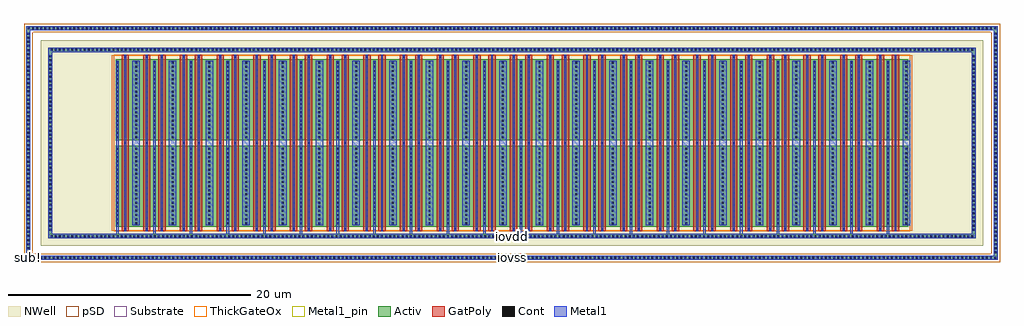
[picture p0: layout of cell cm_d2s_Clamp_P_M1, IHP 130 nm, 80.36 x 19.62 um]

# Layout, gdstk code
import gdstk
lib = gdstk.Library(unit=1e-6, precision=1e-09)
def R(c, l, rs):  # rectangles x0, y0, x1, y1
    for r in rs: c.add(gdstk.rectangle(r[:2], r[2:], *l))
def A(c, l, x, y, w, h, nx, ny, dx, dy):  # array of equal rectangles
    R(c, l, [(x+i*dx, y+j*dy, x+i*dx+w, y+j*dy+h) for i in range(nx) for j in range(ny)])
def P(c, l, *ps):  # polygons
    for p in ps: c.add(gdstk.Polygon(p, *l))
Activ = (1, 0)
GatPoly = (5, 0)
Cont = (6, 0)
Metal1 = (8, 0)
Metal1_pin = (8, 2)
pSD = (14, 0)
NWell = (31, 0)
Substrate = (40, 0)
ThickGateOx = (44, 0)

cm_d2s_clamp_p_m1 = lib.new_cell('cm_d2s_Clamp_P_M1')
R(cm_d2s_clamp_p_m1, Activ, [(7.385,2.75,72.615,9.41), (7.385,9.85,72.615,16.51)])
P(cm_d2s_clamp_p_m1, Activ, [(1.8,1.8),(1.8,17.12),(2.14,17.12),(2.14,2.14),(77.86,2.14),(77.86,17.12),(1.8,17.12),(1.8,17.46),(78.2,17.46),(78.2,1.8)],
  [(0,0),(0,18.92),(0.34,18.92),(0.34,0.34),(79.66,0.34),(79.66,18.92),(0,18.92),(0,19.26),(80,19.26),(80,0)])
R(cm_d2s_clamp_p_m1, GatPoly, [(7.855,2.38,8.455,16.88), (9.635,2.38,10.235,16.88), (10.875,2.38,11.475,16.88), (12.655,2.38,13.255,16.88), (13.895,2.38,14.495,16.88), (15.675,2.38,16.275,16.88), (16.915,2.38,17.515,16.88), (18.695,2.38,19.295,16.88), (19.935,2.38,20.535,16.88), (21.715,2.38,22.315,16.88), (22.955,2.38,23.555,16.88), (24.735,2.38,25.335,16.88), (25.975,2.38,26.575,16.88), (27.755,2.38,28.355,16.88), (28.995,2.38,29.595,16.88), (30.775,2.38,31.375,16.88), (32.015,2.38,32.615,16.88), (33.795,2.38,34.395,16.88), (35.035,2.38,35.635,16.88), (36.815,2.38,37.415,16.88), (38.055,2.38,38.655,16.88), (39.835,2.38,40.435,16.88), (41.075,2.38,41.675,16.88), (42.855,2.38,43.455,16.88), (44.095,2.38,44.695,16.88), (45.875,2.38,46.475,16.88), (47.115,2.38,47.715,16.88), (48.895,2.38,49.495,16.88), (50.135,2.38,50.735,16.88), (51.915,2.38,52.515,16.88), (53.155,2.38,53.755,16.88), (54.935,2.38,55.535,16.88), (56.175,2.38,56.775,16.88), (57.955,2.38,58.555,16.88), (59.195,2.38,59.795,16.88), (60.975,2.38,61.575,16.88), (62.215,2.38,62.815,16.88), (63.995,2.38,64.595,16.88), (65.235,2.38,65.835,16.88), (67.015,2.38,67.615,16.88), (68.255,2.38,68.855,16.88), (70.035,2.38,70.635,16.88), (71.275,2.38,71.875,16.88)])
A(cm_d2s_clamp_p_m1, Cont, 0.14, 0.09, 0.16, 0.16, 235, 2, 0.34, 18.92)
A(cm_d2s_clamp_p_m1, Cont, 0.09, 0.54, 0.16, 0.16, 1, 54, 0, 0.34)
A(cm_d2s_clamp_p_m1, Cont, 79.75, 0.54, 0.16, 0.16, 1, 54, 0, 0.34)
A(cm_d2s_clamp_p_m1, Cont, 2.01, 1.89, 0.16, 0.16, 224, 2, 0.34, 15.32)
A(cm_d2s_clamp_p_m1, Cont, 1.89, 2.41, 0.16, 0.16, 1, 43, 0, 0.34)
A(cm_d2s_clamp_p_m1, Cont, 77.95, 2.41, 0.16, 0.16, 1, 43, 0, 0.34)
A(cm_d2s_clamp_p_m1, Cont, 8.075, 2.45, 0.16, 0.16, 1, 3, 0, 7.1)
A(cm_d2s_clamp_p_m1, Cont, 9.855, 2.45, 0.16, 0.16, 1, 3, 0, 7.1)
A(cm_d2s_clamp_p_m1, Cont, 11.095, 2.45, 0.16, 0.16, 1, 3, 0, 7.1)
A(cm_d2s_clamp_p_m1, Cont, 12.875, 2.45, 0.16, 0.16, 1, 3, 0, 7.1)
A(cm_d2s_clamp_p_m1, Cont, 14.115, 2.45, 0.16, 0.16, 1, 3, 0, 7.1)
A(cm_d2s_clamp_p_m1, Cont, 15.895, 2.45, 0.16, 0.16, 1, 3, 0, 7.1)
A(cm_d2s_clamp_p_m1, Cont, 17.135, 2.45, 0.16, 0.16, 1, 3, 0, 7.1)
A(cm_d2s_clamp_p_m1, Cont, 18.915, 2.45, 0.16, 0.16, 1, 3, 0, 7.1)
A(cm_d2s_clamp_p_m1, Cont, 20.155, 2.45, 0.16, 0.16, 1, 3, 0, 7.1)
A(cm_d2s_clamp_p_m1, Cont, 21.935, 2.45, 0.16, 0.16, 1, 3, 0, 7.1)
A(cm_d2s_clamp_p_m1, Cont, 23.175, 2.45, 0.16, 0.16, 1, 3, 0, 7.1)
A(cm_d2s_clamp_p_m1, Cont, 24.955, 2.45, 0.16, 0.16, 1, 3, 0, 7.1)
A(cm_d2s_clamp_p_m1, Cont, 26.195, 2.45, 0.16, 0.16, 1, 3, 0, 7.1)
A(cm_d2s_clamp_p_m1, Cont, 27.975, 2.45, 0.16, 0.16, 1, 3, 0, 7.1)
A(cm_d2s_clamp_p_m1, Cont, 29.215, 2.45, 0.16, 0.16, 1, 3, 0, 7.1)
A(cm_d2s_clamp_p_m1, Cont, 30.995, 2.45, 0.16, 0.16, 1, 3, 0, 7.1)
A(cm_d2s_clamp_p_m1, Cont, 32.235, 2.45, 0.16, 0.16, 1, 3, 0, 7.1)
A(cm_d2s_clamp_p_m1, Cont, 34.015, 2.45, 0.16, 0.16, 1, 3, 0, 7.1)
A(cm_d2s_clamp_p_m1, Cont, 35.255, 2.45, 0.16, 0.16, 1, 3, 0, 7.1)
A(cm_d2s_clamp_p_m1, Cont, 37.035, 2.45, 0.16, 0.16, 1, 3, 0, 7.1)
A(cm_d2s_clamp_p_m1, Cont, 38.275, 2.45, 0.16, 0.16, 1, 3, 0, 7.1)
A(cm_d2s_clamp_p_m1, Cont, 40.055, 2.45, 0.16, 0.16, 1, 3, 0, 7.1)
A(cm_d2s_clamp_p_m1, Cont, 41.295, 2.45, 0.16, 0.16, 1, 3, 0, 7.1)
A(cm_d2s_clamp_p_m1, Cont, 43.075, 2.45, 0.16, 0.16, 1, 3, 0, 7.1)
A(cm_d2s_clamp_p_m1, Cont, 44.315, 2.45, 0.16, 0.16, 1, 3, 0, 7.1)
A(cm_d2s_clamp_p_m1, Cont, 46.095, 2.45, 0.16, 0.16, 1, 3, 0, 7.1)
A(cm_d2s_clamp_p_m1, Cont, 47.335, 2.45, 0.16, 0.16, 1, 3, 0, 7.1)
A(cm_d2s_clamp_p_m1, Cont, 49.115, 2.45, 0.16, 0.16, 1, 3, 0, 7.1)
A(cm_d2s_clamp_p_m1, Cont, 50.355, 2.45, 0.16, 0.16, 1, 3, 0, 7.1)
A(cm_d2s_clamp_p_m1, Cont, 52.135, 2.45, 0.16, 0.16, 1, 3, 0, 7.1)
A(cm_d2s_clamp_p_m1, Cont, 53.375, 2.45, 0.16, 0.16, 1, 3, 0, 7.1)
A(cm_d2s_clamp_p_m1, Cont, 55.155, 2.45, 0.16, 0.16, 1, 3, 0, 7.1)
A(cm_d2s_clamp_p_m1, Cont, 56.395, 2.45, 0.16, 0.16, 1, 3, 0, 7.1)
A(cm_d2s_clamp_p_m1, Cont, 58.175, 2.45, 0.16, 0.16, 1, 3, 0, 7.1)
A(cm_d2s_clamp_p_m1, Cont, 59.415, 2.45, 0.16, 0.16, 1, 3, 0, 7.1)
A(cm_d2s_clamp_p_m1, Cont, 61.195, 2.45, 0.16, 0.16, 1, 3, 0, 7.1)
A(cm_d2s_clamp_p_m1, Cont, 62.435, 2.45, 0.16, 0.16, 1, 3, 0, 7.1)
A(cm_d2s_clamp_p_m1, Cont, 64.215, 2.45, 0.16, 0.16, 1, 3, 0, 7.1)
A(cm_d2s_clamp_p_m1, Cont, 65.455, 2.45, 0.16, 0.16, 1, 3, 0, 7.1)
A(cm_d2s_clamp_p_m1, Cont, 67.235, 2.45, 0.16, 0.16, 1, 3, 0, 7.1)
A(cm_d2s_clamp_p_m1, Cont, 68.475, 2.45, 0.16, 0.16, 1, 3, 0, 7.1)
A(cm_d2s_clamp_p_m1, Cont, 70.255, 2.45, 0.16, 0.16, 1, 3, 0, 7.1)
A(cm_d2s_clamp_p_m1, Cont, 71.495, 2.45, 0.16, 0.16, 1, 3, 0, 7.1)
A(cm_d2s_clamp_p_m1, Cont, 7.455, 2.94, 0.16, 0.16, 44, 19, 1.51, 0.34)
A(cm_d2s_clamp_p_m1, Cont, 7.455, 10.04, 0.16, 0.16, 44, 19, 1.51, 0.34)
A(cm_d2s_clamp_p_m1, Metal1, 7.43, 1.8, 0.21, 14.6, 22, 1, 3.02, 0)
A(cm_d2s_clamp_p_m1, Metal1, 8.735, 2.86, 0.62, 13.54, 22, 1, 3.02, 0)
R(cm_d2s_clamp_p_m1, Metal1, [(8.075,2.37,8.235,16.89), (9.855,2.37,10.015,16.89), (11.095,2.37,11.255,16.89), (12.875,2.37,13.035,16.89), (14.115,2.37,14.275,16.89), (15.895,2.37,16.055,16.89), (17.135,2.37,17.295,16.89), (18.915,2.37,19.075,16.89), (20.155,2.37,20.315,16.89), (21.935,2.37,22.095,16.89), (23.175,2.37,23.335,16.89), (24.955,2.37,25.115,16.89), (26.195,2.37,26.355,16.89), (27.975,2.37,28.135,16.89), (29.215,2.37,29.375,16.89), (30.995,2.37,31.155,16.89), (32.235,2.37,32.395,16.89), (34.015,2.37,34.175,16.89), (35.255,2.37,35.415,16.89), (37.035,2.37,37.195,16.89), (38.275,2.37,38.435,16.89), (40.055,2.37,40.215,16.89), (41.295,2.37,41.455,16.89), (43.075,2.37,43.235,16.89), (44.315,2.37,44.475,16.89), (46.095,2.37,46.255,16.89), (47.335,2.37,47.495,16.89), (49.115,2.37,49.275,16.89), (50.355,2.37,50.515,16.89), (52.135,2.37,52.295,16.89), (53.375,2.37,53.535,16.89), (55.155,2.37,55.315,16.89), (56.395,2.37,56.555,16.89), (58.175,2.37,58.335,16.89), (59.415,2.37,59.575,16.89), (61.195,2.37,61.355,16.89), (62.435,2.37,62.595,16.89), (64.215,2.37,64.375,16.89), (65.455,2.37,65.615,16.89), (67.235,2.37,67.395,16.89), (68.475,2.37,68.635,16.89), (70.255,2.37,70.415,16.89), (71.495,2.37,71.655,16.89)])
P(cm_d2s_clamp_p_m1, Metal1, [(1.8,1.8),(1.8,17.12),(2.14,17.12),(2.14,2.14),(77.86,2.14),(77.86,17.12),(1.8,17.12),(1.8,17.46),(78.2,17.46),(78.2,1.8)],
  [(0,0),(0,18.92),(0.34,18.92),(0.34,0.34),(79.66,0.34),(79.66,18.92),(0,18.92),(0,19.26),(80,19.26),(80,0)])
R(cm_d2s_clamp_p_m1, Metal1_pin, [(0,0,80,0.34), (1.8,1.8,78.2,2.14)])
R(cm_d2s_clamp_p_m1, pSD, [(7.205,2.35,72.795,16.91)])
P(cm_d2s_clamp_p_m1, pSD, [(-0.18,-0.18),(-0.18,18.74),(0.52,18.74),(0.52,0.52),(79.48,0.52),(79.48,18.74),(-0.18,18.74),(-0.18,19.44),(80.18,19.44),(80.18,-0.18)])
R(cm_d2s_clamp_p_m1, NWell, [(1.18,1.18,78.82,18.08), (6.765,2.13,73.235,17.13)])
P(cm_d2s_clamp_p_m1, Substrate, [(0,0),(0,18.92),(0.34,18.92),(0.34,0.34),(79.66,0.34),(79.66,18.92),(0,18.92),(0,19.26),(80,19.26),(80,0)])
R(cm_d2s_clamp_p_m1, ThickGateOx, [(7.045,2.41,72.955,16.85)])
cm_d2s_clamp_p_m1.add(gdstk.Label('sub!', (0.17,0.17), layer=63, texttype=0))
cm_d2s_clamp_p_m1.add(gdstk.Label('iovdd', (40,1.97), layer=8, texttype=25))
cm_d2s_clamp_p_m1.add(gdstk.Label('iovss', (40,0.17), layer=8, texttype=25))

lib.write_gds('cm_d2s_Clamp_P_M1.gds')
